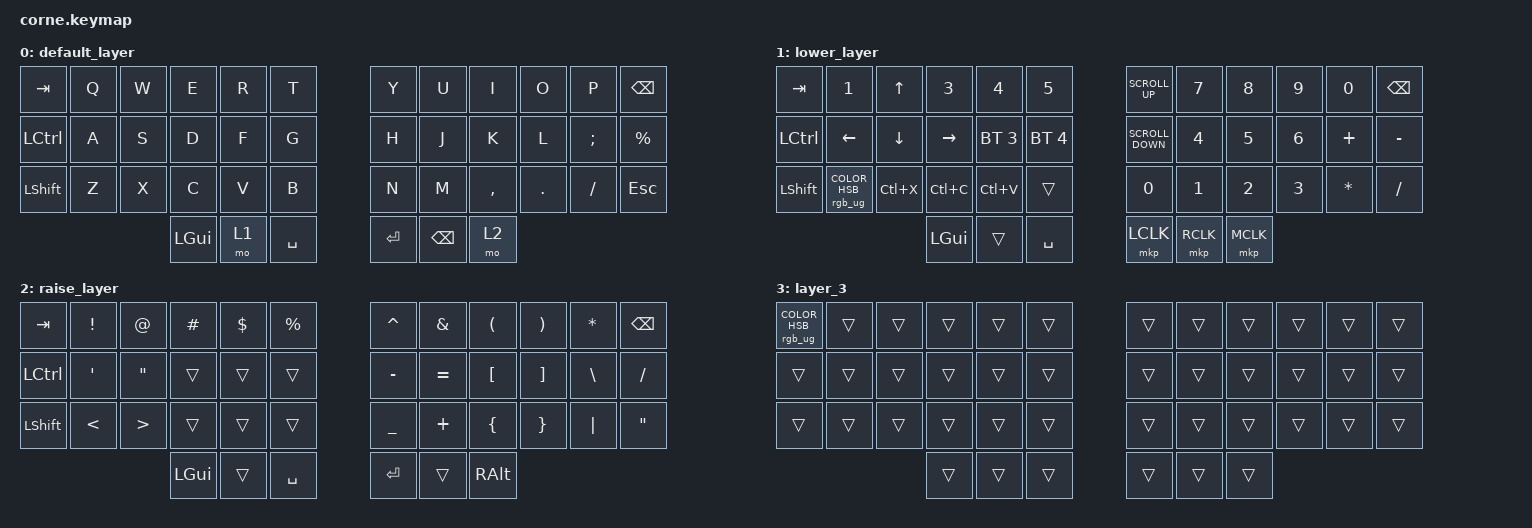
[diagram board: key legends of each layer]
/*
 * Copyright (c) 2020 The ZMK Contributors
 *
 * SPDX-License-Identifier: MIT
 */

#include <behaviors.dtsi>
#include <dt-bindings/zmk/bt.h>
#include <dt-bindings/zmk/keys.h>
#include <dt-bindings/zmk/mouse.h>
#include <dt-bindings/zmk/rgb.h>

/ {
    keymap {
        compatible = "zmk,keymap";

        default_layer {
            // -----------------------------------------------------------------------------------------
            // |  TAB |  Q  |  W  |  E  |  R  |  T  |   |  Y  |  U   |  I  |  O  |  P  | BKSP |
            // | CTRL |  A  |  S  |  D  |  F  |  G  |   |  H  |  J   |  K  |  L  |  ;  |  '   |
            // | SHFT |  Z  |  X  |  C  |  V  |  B  |   |  N  |  M   |  ,  |  .  |  /  | ESC  |
            //                    | GUI | LWR | SPC |   | ENT | RSE  | ALT |

            bindings = <
&kp TAB    &kp Q  &kp W  &kp E     &kp R  &kp T        &kp Y    &kp U          &kp I      &kp O    &kp P     &kp BSPC
&kp LCTRL  &kp A  &kp S  &kp D     &kp F  &kp G        &kp H    &kp J          &kp K      &kp L    &kp SEMI  &kp PERCENT
&kp LSHFT  &kp Z  &kp X  &kp C     &kp V  &kp B        &kp N    &kp M          &kp COMMA  &kp DOT  &kp FSLH  &kp ESC
                         &kp LGUI  &mo 1  &kp SPACE    &kp RET  &kp BACKSPACE  &mo 2
            >;
        };

        lower_layer {
            // -----------------------------------------------------------------------------------------
            // |  TAB |  1  |  2  |  3  |  4  |  5  |   |  6  |  7  |  8  |  9  |  0  | BKSP |
            // | BTCLR| BT1 | BT2 | BT3 | BT4 | BT5 |   | LFT | DWN |  UP | RGT |     |      |
            // | SHFT |     |     |     |     |     |   |     |     |     |     |     |      |
            //                    | GUI |     | SPC |   | ENT |     | ALT |

            bindings = <
&kp TAB           &kp N1                          &kp UP_ARROW  &kp N3           &kp N4        &kp N5          &kp K_SCROLL_UP    &kp N7        &kp N8        &kp N9        &kp N0        &kp BSPC
&kp LEFT_CONTROL  &kp LEFT                        &kp DOWN      &kp RIGHT_ARROW  &bt BT_SEL 3  &bt BT_SEL 4    &kp K_SCROLL_DOWN  &kp NUMBER_4  &kp N5        &kp NUMBER_6  &kp PLUS      &kp MINUS
&kp LSHFT         &rgb_ug RGB_COLOR_HSB(0,0,100)  &kp LC(X)     &kp LC(C)        &kp LC(V)     &trans          &kp N0             &kp NUMBER_1  &kp NUMBER_2  &kp NUMBER_3  &kp ASTERISK  &kp SLASH
                                                                &kp LGUI         &trans        &kp SPACE       &mkp LCLK          &mkp RCLK     &mkp MCLK
            >;
        };

        raise_layer {
            // -----------------------------------------------------------------------------------------
            // |  TAB |  !  |  @  |  #  |  $  |  %  |   |  ^  |  &  |  *  |  (  |  )  | BKSP |
            // | CTRL |     |     |     |     |     |   |  -  |  =  |  [  |  ]  |  \  |  `   |
            // | SHFT |     |     |     |     |     |   |  _  |  +  |  {  |  }  | "|" |  ~   |
            //                    | GUI |     | SPC |   | ENT |     | ALT |

            bindings = <
&kp TAB    &kp EXCL       &kp AT             &kp HASH  &kp DLLR  &kp PRCNT    &kp CARET  &kp AMPS   &kp LEFT_PARENTHESIS  &kp RIGHT_PARENTHESIS  &kp ASTERISK  &kp BSPC
&kp LCTRL  &kp SQT        &kp DOUBLE_QUOTES  &trans    &trans    &trans       &kp MINUS  &kp EQUAL  &kp LBKT              &kp RBKT               &kp BSLH      &kp SLASH
&kp LSHFT  &kp LESS_THAN  &kp GREATER_THAN   &trans    &trans    &trans       &kp UNDER  &kp PLUS   &kp LBRC              &kp RBRC               &kp PIPE      &kp DOUBLE_QUOTES
                                             &kp LGUI  &trans    &kp SPACE    &kp RET    &trans     &kp RALT
            >;
        };

        layer_3 {
            bindings = <
&rgb_ug RGB_COLOR_HSB(0,0,100)  &trans  &trans  &trans  &trans  &trans    &trans  &trans  &trans  &trans  &trans  &trans
&trans                          &trans  &trans  &trans  &trans  &trans    &trans  &trans  &trans  &trans  &trans  &trans
&trans                          &trans  &trans  &trans  &trans  &trans    &trans  &trans  &trans  &trans  &trans  &trans
                                                &trans  &trans  &trans    &trans  &trans  &trans
            >;
        };
    };
};
